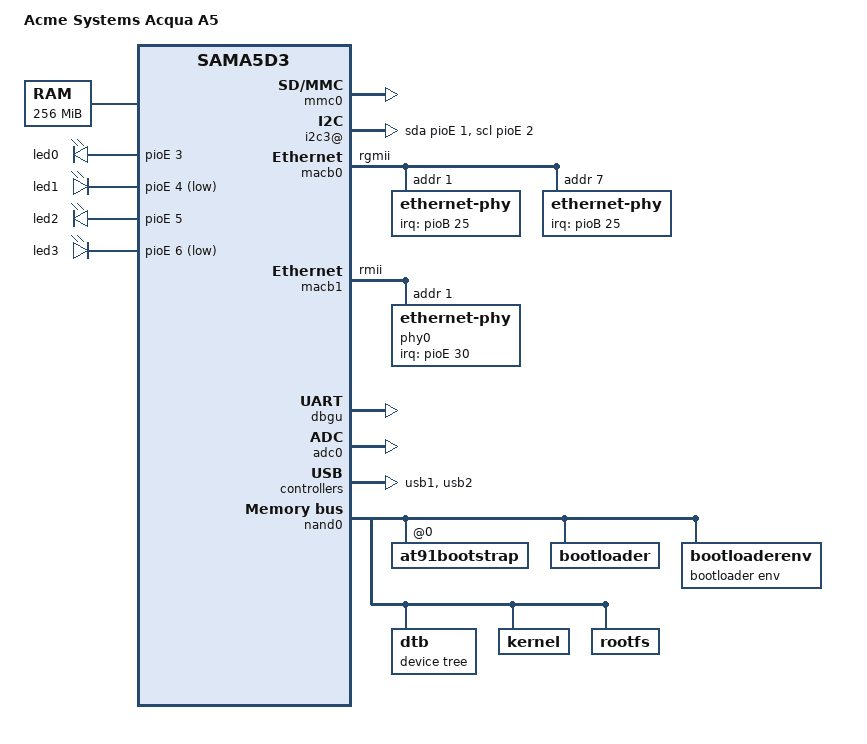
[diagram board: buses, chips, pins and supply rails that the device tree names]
/*
 * acme-acqua-gpio.dts
 * Device Tree file for Acqua A5
 * All gpio
 *
 */
 
/dts-v1/;
#include "sama5d31.dtsi"

/ {
	model = "Acme Systems Acqua A5";
	compatible = "atmel,acme-acqua","atmel,sama5d31", "atmel,sama5d3", "atmel,sama5";

	chosen {
		stdout-path = "serial0:115200n8";
		bootargs = "mem=256M console=ttyS0,115200 root=/dev/mmcblk0p2 rootfstype=ext4 rw rootwait consoleblank=0";
	};

	memory {
		reg = <0x20000000 0x10000000>;
	};

	clocks {
		slow_xtal {
			clock-frequency = <32768>;
		};

		main_xtal {
			clock-frequency = <12000000>;
		};
	};

	ahb {
		apb {
		
			/* LCD */
			
			hlcdc: hlcdc@f0030000 {
				status = "disabled";
				hlcdc-display-controller {
					pinctrl-names = "default";
					pinctrl-0 = <&pinctrl_lcd_base &pinctrl_lcd_rgb888_alt>;
					port@0 {
						hlcdc_panel_output: endpoint@0 {
							remote-endpoint = <&panel_input>;
						};
					};
				};
			};

			/* MicroSD */

			mmc0: mmc@f0000000 {
				pinctrl-0 = <&pinctrl_mmc0_clk_cmd_dat0 &pinctrl_mmc0_dat1_3 &pinctrl_mmc0_dat4_7 &pinctrl_mmc0_cd>;
				status = "okay";
				slot@0 {
					reg = <0>;
					bus-width = <8>;
					cd-gpios = <&pioE 0 GPIO_ACTIVE_LOW>;
				};
			};

			/* SPI */

			spi0: spi@f0004000 {
				status = "disabled";
				/*cs-gpios = <&pioD 13 0>, <&pioD 14 0>, <&pioD 15>, <&pioD 16>;*/
				cs-gpios = <&pioD 13 0>, <&pioD 14 0>, <&pioD 15>, <0>;

				device@0 {
					compatible = "spidev";
					spi-max-frequency = <50000000>;     // 50 MHz
					reg = <0>;
				};
				device@1 {
					compatible = "spidev";
					spi-max-frequency = <5000000>;      // 5 MHz
					reg = <1>;
				};
				device@2 {
					compatible = "spidev";
					spi-max-frequency = <5000000>;      // 5 MHz
					reg = <2>;
				};
				/*device@3 {
					compatible = "spidev";
					spi-max-frequency = <5000000>;      // 5 MHz
					reg = <3>;
				};*/
			};

			spi1: spi@f8008000 {
				status = "disabled";
				cs-gpios = <&pioC 25 0>, <&pioC 26 0>, <&pioC 27 0>, <&pioC 28 0>;
				
				device@0 {
					compatible = "spidev";
					spi-max-frequency = <50000000>;     // 50 MHz
					reg = <0>;
				};
				device@1 {
					compatible = "spidev";
					spi-max-frequency = <5000000>;      // 5 MHz
					reg = <1>;
				};
				device@2 {
					compatible = "spidev";
					spi-max-frequency = <5000000>;      // 5 MHz
					reg = <2>;
				};
				device@3 {
					compatible = "spidev";
					spi-max-frequency = <5000000>;      // 5 MHz
					reg = <3>;
				};
			};

			/* I2C */

			i2c0: i2c@f0014000 {
				status = "disabled";
			};

			i2c1: i2c@f0018000 {
				status = "disabled";
			};

			/* Bit banging I2C wired on the Atmel MAC chip */
			i2c3@ {
				compatible = "i2c-gpio";
				gpios = <&pioE 1 0 /* SDA */
						 &pioE 2 0 /* SCK */
						>;

				/*i2c-gpio,sda-open-drain;*/
				/*i2c-gpio,scl-open-drain;*/
				i2c-gpio,delay-us = <4>;	/* ~178 kHz */
				#address-cells = <1>;
				#size-cells = <0>;
			};

			/* Ethernet */

			macb0: ethernet@f0028000 {
				phy-mode = "rgmii";
				#address-cells = <1>;
				#size-cells = <0>;

				ethernet-phy@1 {
					reg = <0x1>;
					interrupt-parent = <&pioB>;
					interrupts = <25 IRQ_TYPE_EDGE_FALLING>;
					txen-skew-ps = <800>;
					txc-skew-ps = <3000>;
					rxdv-skew-ps = <400>;
					rxc-skew-ps = <3000>;
					rxd0-skew-ps = <400>;
					rxd1-skew-ps = <400>;
					rxd2-skew-ps = <400>;
					rxd3-skew-ps = <400>;
				};

				ethernet-phy@7 {
					reg = <0x7>;
					interrupt-parent = <&pioB>;
					interrupts = <25 IRQ_TYPE_EDGE_FALLING>;
					txen-skew-ps = <800>;
					txc-skew-ps = <3000>;
					rxdv-skew-ps = <400>;
					rxc-skew-ps = <3000>;
					rxd0-skew-ps = <400>;
					rxd1-skew-ps = <400>;
					rxd2-skew-ps = <400>;
					rxd3-skew-ps = <400>;
				};
			};

			macb1: ethernet@f802c000 {
				status = "okay";
				phy-mode = "rmii";

				#address-cells = <1>;
				#size-cells = <0>;
				phy0: ethernet-phy@1 {
					interrupt-parent = <&pioE>;
					interrupts = <30 IRQ_TYPE_EDGE_FALLING>;
					reg = <1>;
				};
			};


			/* Debug port */
			/* Do not use DMA for dbgu */

			dbgu: serial@ffffee00 {
				dmas = <0>, <0>;	
				status = "okay";
			};

			/* Serial */

			usart1: serial@f0020000 {
				dmas = <0>, <0>;	/*  Do not use DMA for usart1 */
				pinctrl-names = "default";
				/* pinctrl-0 = <&pinctrl_usart1 &pinctrl_usart1_rts_cts>; */
				status = "disabled";
			};


			/* Watchdog */

			watchdog@fffffe40 {
				status = "okay";
			};

			adc0: adc@f8018000 {
				pinctrl-names = "default";
				pinctrl-0 = <
					&pinctrl_adc0_ad10
					&pinctrl_adc0_ad11
					>;
				status = "okay";
			};

			pinctrl@fffff200 {
				board {
					pinctrl_mmc0_cd: mmc0_cd {
						atmel,pins =
							<AT91_PIOD 17 AT91_PERIPH_GPIO AT91_PINCTRL_PULL_UP_DEGLITCH>; /* PD17 GPIO with pullup deglitch */
					};

					pinctrl_mmc1_cd: mmc1_cd {
						atmel,pins =
							<AT91_PIOD 18 AT91_PERIPH_GPIO AT91_PINCTRL_PULL_UP_DEGLITCH>; /* PD18 GPIO with pullup deglitch */
					};

					pinctrl_pck0_as_audio_mck: pck0_as_audio_mck {
						atmel,pins =
							<AT91_PIOD 30 AT91_PERIPH_B AT91_PINCTRL_NONE>;	/* PD30 periph B */
					};

					pinctrl_pck1_as_isi_mck: pck1_as_isi_mck-0 {
						atmel,pins =
							<AT91_PIOD 31 AT91_PERIPH_B AT91_PINCTRL_NONE>;	/* PD31 periph B ISI_MCK */
					};

					pinctrl_sensor_reset: sensor_reset-0 {
						atmel,pins =
							<AT91_PIOE 24 AT91_PERIPH_GPIO AT91_PINCTRL_NONE>;   /* PE24 gpio */
					};

					pinctrl_sensor_power: sensor_power-0 {
						atmel,pins =
							<AT91_PIOE 29 AT91_PERIPH_GPIO AT91_PINCTRL_NONE>; /* PE29 gpio */
					};

					pinctrl_usba_vbus: usba_vbus {
						atmel,pins =
							<AT91_PIOD 29 AT91_PERIPH_GPIO AT91_PINCTRL_DEGLITCH>; /* PD29 GPIO with deglitch */
					};
					
					/* PWM-TCB lines */

					pinctrl_tcb1_tioa0: tcb1_tioa0 {
						atmel,pins =
							< AT91_PIOD 5 AT91_PERIPH_B AT91_PINCTRL_NONE >;
					};

					pinctrl_tcb1_tioa1: tcb1_tioa1 {
						atmel,pins =
							< AT91_PIOC 12 AT91_PERIPH_B AT91_PINCTRL_NONE >;
					};

					pinctrl_tcb1_tioa2: tcb1_tioa2 {
						atmel,pins =
							< AT91_PIOE 27 AT91_PERIPH_B AT91_PINCTRL_NONE >;
					};

					pinctrl_tcb1_tiob0: tcb1_tiob0 {
						atmel,pins =
							< AT91_PIOD 6 AT91_PERIPH_B AT91_PINCTRL_NONE >;
					};

					pinctrl_tcb1_tiob1: tcb1_tiob1 {
						atmel,pins =
							< AT91_PIOC 13 AT91_PERIPH_B AT91_PINCTRL_NONE >;
					};

					pinctrl_tcb1_tiob2: tcb1_tiob2 {
						atmel,pins =
							< AT91_PIOE 28 AT91_PERIPH_B AT91_PINCTRL_NONE >;
					};

					/* PWM lines */

					pinctrl_pwm0_pwmh0: pwm0_pwmh0 {
						atmel,pins =
							< AT91_PIOB 0 AT91_PERIPH_B AT91_PINCTRL_NONE >;
					};

					pinctrl_pwm0_pwml0: pwm0_pwml0 {
						atmel,pins =
							< AT91_PIOB 1 AT91_PERIPH_B AT91_PINCTRL_NONE >;
					};
 
 					pinctrl_pwm0_pwmh1: pwm0_pwmh1 {
						atmel,pins =
							< AT91_PIOB 4 AT91_PERIPH_B AT91_PINCTRL_NONE >;
					};

					pinctrl_pwm0_pwml1: pwm0_pwml1 {
						atmel,pins =
							< AT91_PIOB 5 AT91_PERIPH_B AT91_PINCTRL_NONE >;
					};

					pinctrl_pwm0_pwmh2: pwm0_pwmh2 {
						atmel,pins =
							< AT91_PIOB 8 AT91_PERIPH_B AT91_PINCTRL_NONE >;
					};

					pinctrl_pwm0_pwml2: pwm0_pwml2 {
						atmel,pins =
							< AT91_PIOB 9 AT91_PERIPH_B AT91_PINCTRL_NONE >;
					};

					pinctrl_pwm0_pwmh3: pwm0_pwmh3 {
						atmel,pins =
							< AT91_PIOB 12 AT91_PERIPH_B AT91_PINCTRL_NONE >;
					};

					pinctrl_pwm0_pwml3: pwm0_pwml3 {
						atmel,pins =
							< AT91_PIOB 13 AT91_PERIPH_B AT91_PINCTRL_NONE >;
					};
				};
			};
			
			
		};

		/*usb0: gadget@00500000 {
			
			atmel,vbus-gpio = <&pioD 29 GPIO_ACTIVE_HIGH>;
			pinctrl-names = "default";
			pinctrl-0 = <&pinctrl_usba_vbus>;
			
			status = "okay";
		};*/

		usb1: ohci@00600000 {
			
			/*num-ports = <3>;
			atmel,vbus-gpio = <&pioD 25 GPIO_ACTIVE_HIGH
					   &pioD 26 GPIO_ACTIVE_LOW
					   &pioD 27 GPIO_ACTIVE_LOW
					  >;*/
			
			status = "okay";
		};

		usb2: ehci@00700000 {
			status = "okay";
		};


		pwm1: pwm@f8014000 {
			compatible = "atmel,tcb-pwm";
			#pwm-cells = <3>;
			tc-block = <1>;
			reg = <0xf8014000 0x100>;
			interrupts = <27 IRQ_TYPE_LEVEL_HIGH 0>;
			clocks = <&tcb1_clk>, <&clk32k>;
			clock-names = "t0_clk", "slow_clk";
			pinctrl-names = "default";
			pinctrl-0 = <&pinctrl_tcb1_tioa0
						 &pinctrl_tcb1_tioa1
						 &pinctrl_tcb1_tioa2
						 &pinctrl_tcb1_tiob0
						 &pinctrl_tcb1_tiob1
						 &pinctrl_tcb1_tiob2>;
			status = "disabled";
		};
			
		tcb1_clk: tcb1_clk {
			#clock-cells = <0>;
			//reg = <27>;
			atmel,clk-output-range = <0 133000000>;
			status = "disabled";
		};


		nand0: nand@60000000 {
			nand-bus-width = <8>;
			nand-ecc-mode = "hw";
			atmel,has-pmecc;
			atmel,pmecc-cap = <4>;
			atmel,pmecc-sector-size = <512>;
			nand-on-flash-bbt;
			status = "okay";

			at91bootstrap@0 {
				label = "at91bootstrap";
				reg = <0x0 0x40000>;
			};

			bootloader@40000 {
				label = "bootloader";
				reg = <0x40000 0x80000>;
			};

			bootloaderenv@c0000 {
				label = "bootloader env";
				reg = <0xc0000 0xc0000>;
			};

			dtb@180000 {
				label = "device tree";
				reg = <0x180000 0x80000>;
			};

			kernel@200000 {
				label = "kernel";
				reg = <0x200000 0x600000>;
			};

			rootfs@800000 {
				label = "rootfs";
				reg = <0x800000 0x0f800000>;
			};
		};


	};




	leds {
		compatible = "gpio-leds";

		led0 {
			label = "led0";
			gpios = <&pioE 3 GPIO_ACTIVE_HIGH>;
			linux,default-trigger = "heartbeat";
		};

		led1 {
			label = "led1";
			gpios = <&pioE 4 GPIO_ACTIVE_LOW>;
			linux,default-trigger = "heartbeat";
		};

		led2 {
			label = "led2";
			gpios = <&pioE 5 GPIO_ACTIVE_HIGH>;
			linux,default-trigger = "heartbeat";
		};

		led3 {
			label = "led3";
			gpios = <&pioE 6 GPIO_ACTIVE_LOW>;
			linux,default-trigger = "heartbeat";
		};

	};

    panel: panel {
        /* compatible = "acme,43inch", "simple-panel"; */
        /* compatible = "acme,50inch", "simple-panel"; */
        /* compatible = "acme,70inch", "simple-panel"; */
        
        status = "disabled";

        port@0 {
            panel_input: endpoint@0 {
                remote-endpoint = <&hlcdc_panel_output>;
            };
        };
    };
};
